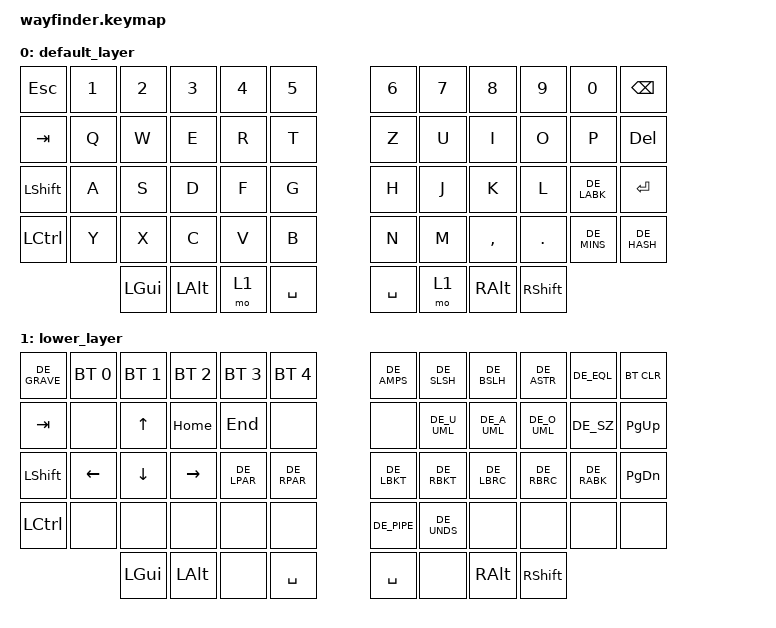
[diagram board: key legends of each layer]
#include <behaviors.dtsi>
#include <dt-bindings/zmk/keys.h>
#include <dt-bindings/zmk/locale/de.h>
#include <dt-bindings/zmk/bt.h>

//Missing
/ {
        keymap {
                compatible = "zmk,keymap";

                default_layer {
                        // ---------------------------------------------------------------------------------
// | ESC  |  1  |  2  |  3  |  4  |  5  |     |  6  |  7  |  8  |  9  |  0  | BKSP |
// | TAB  |  Q  |  W  |  E  |  R  |  T  |     |  Z  |  U  |  I  |  O  |  P  | ENTF |
// | SHFT |  A  |  S  |  D  |  F  |  G  |     |  H  |  J  |  K  |  L  |  <  | ENT  |
// | CTRL |  Y  |  X  |  C  |  V  |  B  |     |  N  |  M  |  ,  |  .  |  -  | APOS |
//              | GUI | ALT | LOW | SPC |     | SPC | LOW | ALT | SHFT|
                        bindings = <
   &kp ESC   &kp N1   &kp N2   &kp N3   &kp N4   &kp N5              &kp N6   &kp N7   &kp N8    &kp N9   &kp N0     &kp BSPC
   &kp TAB   &kp Q    &kp W    &kp E    &kp R    &kp T               &kp Z    &kp U    &kp I     &kp O    &kp P      &kp DEL
   &kp LSHFT &kp A    &kp S    &kp D    &kp F    &kp G               &kp H    &kp J    &kp K     &kp L    &kp DE_LABK &kp RET
   &kp LCTRL &kp Y    &kp X    &kp C    &kp V    &kp B               &kp N    &kp M    &kp COMMA &kp DOT  &kp DE_MINS &kp DE_HASH
                      &kp LGUI &kp LALT &mo 1    &kp SPACE           &kp SPACE &mo 1   &kp RALT  &kp RSHFT
                        >;
                };

//LAYER UP
// ------------------------------------------------------------------------------------------------------------
// |   `   |  BT1  |  BT2  |  BT3  |  BT4  |  BT5  |          |   &   |   /   |   \   |   *   |   =   | BTCLR |
// |  TAB  |       | UARW  | HOME  |  End  |       |          |       |   ü   |   ä   |   ö   |   ß   | PG_UP |
// |  SHFT | LARW  | DARW  | RARW  |DE_LPAR|DE_RPAR|          |DE_LBKT|DE_RBKT|   {   |   }   |   >   | PG_DN |
// |  CTRL |       |       |       |       |       |          |   |   |   _   |   ?   |   !   |       |       |
//                 | GUI   | ALT   |       | SPC   |          | SPC   |       |  ALT  |  SHFT |
                lower_layer {
                        bindings = <
     &kp DE_GRAVE &bt BT_SEL 0 &bt BT_SEL 1 &bt BT_SEL 2 &bt BT_SEL 3 &bt BT_SEL 4         &kp DE_AMPS &kp DE_SLSH  &kp DE_BSLH  &kp DE_ASTR  &kp DE_EQL  &bt BT_CLR
     &kp TAB      &none        &kp UP       &kp HOME     &kp END      &none                &none       &kp DE_U_UML &kp DE_A_UML &kp DE_O_UML &kp DE_SZ   &kp PG_UP
     &kp LSHFT    &kp LEFT     &kp DOWN     &kp RIGHT    &kp DE_LPAR  &kp DE_RPAR          &kp DE_LBKT &kp DE_RBKT  &kp DE_LBRC  &kp DE_RBRC  &kp DE_RABK &kp PG_DN
     &kp LCTRL    &none        &none        &none        &none        &none                &kp DE_PIPE &kp DE_UNDS  &none        &none        &none       &none
                               &kp LGUI     &kp LALT     &none        &kp SPACE            &kp SPACE   &none        &kp RALT     &kp RSHFT
                        >;
                };
        };
};
